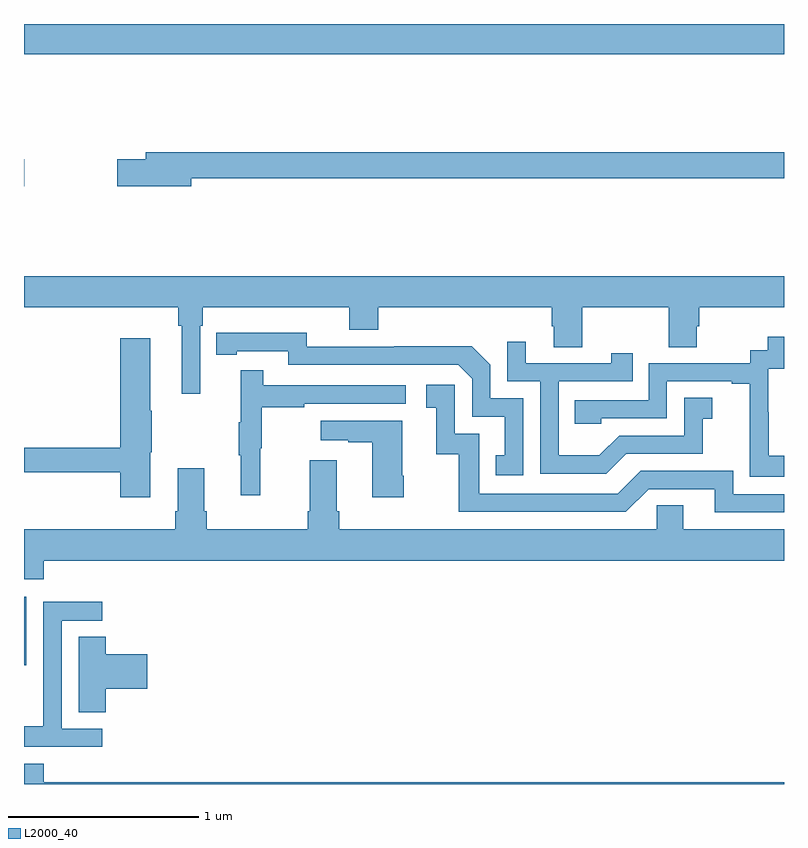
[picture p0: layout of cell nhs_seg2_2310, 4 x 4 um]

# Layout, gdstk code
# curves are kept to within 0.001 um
import gdstk
lib = gdstk.Library(unit=1e-6, precision=1e-09)
def R(c, l, rs):  # rectangles x0, y0, x1, y1
    for r in rs: c.add(gdstk.rectangle(r[:2], r[2:], *l))
def P(c, l, *ps):  # polygons
    for p in ps: c.add(gdstk.Polygon(p, *l))
L2000_40 = (2000, 40)

nhs_seg2_2310 = lib.new_cell('nhs_seg2_2310')
R(nhs_seg2_2310, L2000_40, [(231,640.425,231.013,640.786), (231,642.946,231.001,643.088), (231,643.64,235,643.8)])
P(nhs_seg2_2310, L2000_40, [(231.88,642.988),(235,642.988),(235,643.124),(231.641,643.124),(231.641,643.088),(231.492,643.088),(231.492,642.946),(231.88,642.946)],
  [(231.927,642.212),(231.941,642.212),(231.941,642.308),(232.712,642.308),(232.712,642.191),(232.865,642.191),(232.865,642.308),(233.777,642.308),(233.777,642.21),(233.789,642.21),(233.789,642.1),(233.937,642.1),(233.937,642.308),(234.394,642.308),(234.394,642.1),(234.541,642.1),(234.541,642.21),(234.554,642.21),(234.554,642.308),(235,642.308),(235,642.472),(231,642.472),(231,642.308),(231.811,642.308),(231.811,642.212),(231.83,642.212),(231.83,641.853),(231.927,641.853)],
  [(233.628,641.829),(233.454,641.829),(233.454,642.006),(233.356,642.104),(232.948,642.104),(232.948,642.102),(232.488,642.102),(232.488,642.175),(232.012,642.174),(232.012,642.058),(232.12,642.058),(232.12,642.078),(232.392,642.078),(232.392,642.006),(233.286,642.006),(233.358,641.934),(233.358,641.733),(233.531,641.733),(233.531,641.529),(233.482,641.529),(233.482,641.424),(233.628,641.424)],
  [(235,641.527),(234.92,641.527),(234.92,641.756),(234.918,641.756),(234.918,641.985),(235,641.985),(235,642.154),(234.915,642.154),(234.915,642.084),(234.822,642.084),(234.822,642.015),(234.288,642.015),(234.288,641.82),(233.899,641.82),(233.899,641.697),(234.039,641.697),(234.039,641.724),(234.384,641.724),(234.384,641.919),(234.725,641.919),(234.725,641.907),(234.821,641.907),(234.821,641.623),(234.82,641.623),(234.82,641.417),(235,641.417)],
  [(231.664,641.547),(231.672,641.547),(231.672,641.765),(231.664,641.765),(231.664,642.145),(231.506,642.145),(231.506,641.57),(231,641.57),(231,641.442),(231.506,641.442),(231.506,641.31),(231.664,641.31)],
  [(234.169,641.538),(234.573,641.538),(234.573,641.723),(234.622,641.723),(234.622,641.833),(234.474,641.833),(234.474,641.634),(234.132,641.634),(234.028,641.53),(233.814,641.53),(233.814,641.919),(234.203,641.919),(234.203,642.067),(234.092,642.067),(234.092,642.015),(233.641,642.015),(233.641,642.127),(233.544,642.127),(233.544,641.919),(233.718,641.919),(233.718,641.433),(234.064,641.433)],
  [(232.244,641.568),(232.252,641.568),(232.252,641.782),(232.475,641.782),(232.475,641.802),(233.008,641.802),(233.008,641.898),(232.259,641.898),(232.259,641.977),(232.142,641.977),(232.142,641.705),(232.131,641.705),(232.131,641.531),(232.142,641.531),(232.142,641.319),(232.244,641.319)],
  [(235,641.325),(234.732,641.325),(234.732,641.448),(234.246,641.448),(234.126,641.328),(233.397,641.328),(233.397,641.643),(233.268,641.643),(233.268,641.902),(233.118,641.902),(233.118,641.781),(233.171,641.781),(233.171,641.535),(233.289,641.535),(233.289,641.232),(234.168,641.232),(234.288,641.352),(234.635,641.352),(234.635,641.229),(235,641.229)],
  [(232.998,641.422),(232.99,641.422),(232.99,641.713),(232.563,641.713),(232.563,641.609),(232.706,641.609),(232.706,641.599),(232.832,641.599),(232.832,641.31),(232.998,641.31)],
  [(235,641.14),(234.469,641.14),(234.469,641.267),(234.33,641.267),(234.33,641.14),(232.658,641.14),(232.658,641.236),(232.645,641.236),(232.645,641.503),(232.505,641.503),(232.505,641.236),(232.493,641.236),(232.493,641.14),(231.962,641.14),(231.962,641.236),(231.949,641.236),(231.949,641.461),(231.809,641.461),(231.809,641.236),(231.797,641.236),(231.797,641.14),(231,641.14),(231,640.877),(231.104,640.877),(231.104,640.976),(235,640.976)],
  [(231.412,640.092),(231.198,640.092),(231.198,640.659),(231.412,640.659),(231.412,640.758),(231.102,640.758),(231.102,640.328),(231.1,640.328),(231.1,640.105),(231,640.105),(231,639.996),(231.412,639.996)],
  [(231.431,640.301),(231.649,640.301),(231.649,640.484),(231.431,640.484),(231.431,640.574),(231.287,640.574),(231.287,640.177),(231.431,640.177)],
  [(235,639.808),(231.104,639.808),(231.104,639.907),(231,639.907),(231,639.8),(235,639.8)])

lib.write_gds('nhs_seg2_2310.gds')
